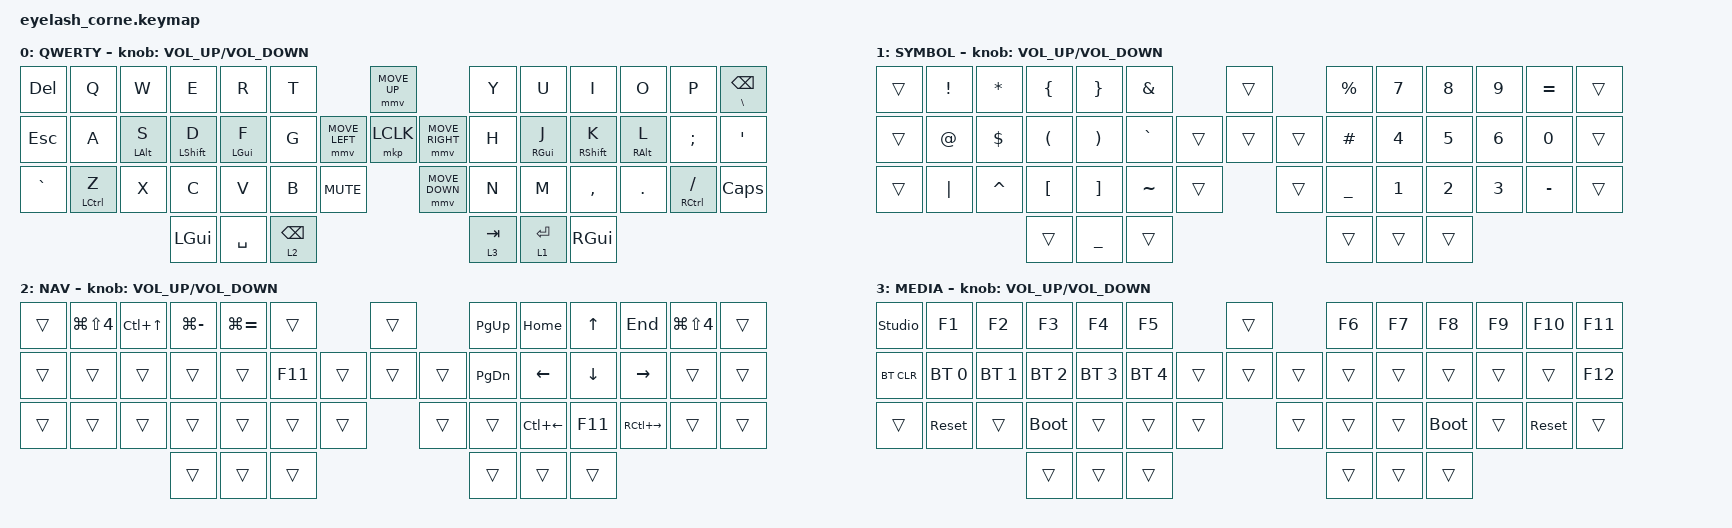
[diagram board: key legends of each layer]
#define ZMK_POINTING_DEFAULT_MOVE_VAL 1200  // 600
#define ZMK_POINTING_DEFAULT_SCRL_VAL 25    // 10

#include "zmk-helpers/helper.h"

// Source desired key-position labels
#include "zmk-helpers/key-labels/eyelash42.h"

#include <input/processors.dtsi>
#include <zephyr/dt-bindings/input/input-event-codes.h>
#include <behaviors.dtsi>
#include <dt-bindings/zmk/bt.h>
#include <dt-bindings/zmk/keys.h>
#include <dt-bindings/zmk/outputs.h>
#include <dt-bindings/zmk/pointing.h>
#include <dt-bindings/zmk/rgb.h>

/* Define aliases for behaviors */
#define ___ &trans
#define DESKTOP F11
#define SCREENSHOT LG(LS(N4))
#define ZOOM_IN LG(EQUAL)
#define ZOOM_OUT LG(MINUS)
#define MSN_CTRL LC(UP)

/* Define nicknames for layers */
#define QWERTY 0
#define SYMBOL 1
#define NAV 2
#define MEDIA 3


/* Timeless homerow mods */
#define KEYS_L LT0 LT1 LT2 LT3 LT4 LT5 LM0 LM1 LM2 LM3 LM4 LM5 LB0 LB1 LB2 LB3 LB4 LB5 // Left-hand keys.
#define KEYS_R RT0 RT1 RT2 RT3 RT4 RT5 RM0 RM1 RM2 RM3 RM4 RM5 RB0 RB1 RB2 RB3 RB4 RB5 // Right-hand keys.
#define THUMBS LH2 LH1 LH0 RH0 RH1 RH2                                                 // Thumb keys.

/* Left-hand HRMs. */
ZMK_HOLD_TAP(hml,
    flavor = "balanced";
    tapping-term-ms = <280>;
    quick-tap-ms = <175>;
    require-prior-idle-ms = <150>;
    bindings = <&kp>, <&kp>;
    hold-trigger-key-positions = <KEYS_R THUMBS>;
    hold-trigger-on-release;
)

/* Right-hand HRMs. */
ZMK_HOLD_TAP(hmr,
    flavor = "balanced";
    tapping-term-ms = <280>;
    quick-tap-ms = <175>;
    require-prior-idle-ms = <150>;
    bindings = <&kp>, <&kp>;
    hold-trigger-key-positions = <KEYS_L THUMBS>;
    hold-trigger-on-release;
)

/* Left-hand HRMs. */
ZMK_HOLD_TAP(hmsl,
    flavor = "balanced";
    tapping-term-ms = <280>;
    quick-tap-ms = <175>;
    require-prior-idle-ms = <5>;
    bindings = <&kp>, <&kp>;
    hold-trigger-key-positions = <KEYS_R THUMBS>;
    hold-trigger-on-release;
)

/* Right-hand HRMs. */
ZMK_HOLD_TAP(hmsr,
    flavor = "balanced";
    tapping-term-ms = <280>;
    quick-tap-ms = <175>;
    require-prior-idle-ms = <5>;
    bindings = <&kp>, <&kp>;
    hold-trigger-key-positions = <KEYS_L THUMBS>;
    hold-trigger-on-release;
)

/* Mouse Move Behaviors */
&mmv {
    time-to-max-speed-ms = <500>;
    acceleration-exponent = <1>;
    trigger-period-ms = <16>;
};

/* Start defining behaviors */
/ {

/* Keymap */
keymap {
compatible = "zmk,keymap";

querty_layer {
display-name = "QWERTY";
bindings = <
// ╭─────────────┬─────────────┬─────────────┬─────────────┬─────────────┬─────────────╮                                      ╭───────────────╮                   ╭─────────────┬─────────────┬─────────────┬─────────────┬─────────────┬─────────────╮
       &kp DEL        &kp Q         &kp W         &kp E         &kp R        &kp T                                               &mmv MOVE_UP                          &kp Y         &kp U          &kp I        &kp O        &kp P      &mt BSLH BSPC
// ├─────────────┼─────────────┼─────────────┼─────────────┼─────────────┼─────────────┤                      ╭───────────────┼───────────────┼───────────────╮   ├─────────────┼─────────────┼─────────────┼─────────────┼─────────────┼─────────────┤
       &kp ESC        &kp A      &hml LALT S  &hmsl LSHFT D  &hml LGUI F     &kp G                             &mmv MOVE_LEFT     &mkp LCLK    &mmv MOVE_RIGHT         &kp H      &hmr RGUI J  &hmsr RSHFT K  &hmr RALT L     &kp SEMI      &kp SQT
// ├─────────────┼─────────────┼─────────────┼─────────────┼─────────────┼─────────────┤   ╭─────────────╮    ╰───────────────┼───────────────┼───────────────╯   ├─────────────┼─────────────┼─────────────┼─────────────┼─────────────┼─────────────┤
      &kp GRAVE   &hml LCTRL Z     &kp X        &kp C          &kp V        &kp B            &kp C_MUTE                        &mmv MOVE_DOWN                          &kp N        &kp M       &kp COMMA      &kp DOT    &hmr RCTRL FSLH  &kp CAPS
// ╰─────────────┼─────────────┼─────────────┼─────────────┼─────────────┼─────────────┤   ╰─────────────╯                    ╰───────────────╯                   ├─────────────┼─────────────┼─────────────┼─────────────┼─────────────┼─────────────╯
                                                &kp LGUI     &kp SPACE    &lt 2 BSPC                                                                                 &lt 3 TAB    &lt 1 ENTER    &kp RGUI
//                                           ╰─────────────┴─────────────┴─────────────╯                                                                          ╰─────────────┴─────────────┴─────────────╯
>;
sensor-bindings = <&inc_dec_kp C_VOLUME_UP C_VOLUME_DOWN>;
};

symbol_layer {
display-name = "SYMBOL";
bindings = <
// ╭─────────────┬─────────────┬─────────────┬─────────────┬─────────────┬─────────────╮                                      ╭───────────────╮                   ╭─────────────┬─────────────┬─────────────┬─────────────┬─────────────┬─────────────╮
         ___        &kp EXCL      &kp ASTRK     &kp LBRC       &kp RBRC      &kp AMPS                                                ___                              &kp PRCNT       &kp N7       &kp N8        &kp N9      &kp EQUAL         ___
// ├─────────────┼─────────────┼─────────────┼─────────────┼─────────────┼─────────────┤                      ╭───────────────┼───────────────┼───────────────╮   ├─────────────┼─────────────┼─────────────┼─────────────┼─────────────┼─────────────┤
         ___         &kp AT       &kp DLLR      &kp LPAR       &kp RPAR     &kp GRAVE                                ___             ___             ___              &kp HASH        &kp N4       &kp N5        &kp N6       &kp N0           ___
// ├─────────────┼─────────────┼─────────────┼─────────────┼─────────────┼─────────────┤   ╭─────────────╮    ╰───────────────┼───────────────┼───────────────╯   ├─────────────┼─────────────┼─────────────┼─────────────┼─────────────┼─────────────┤
         ___        &kp PIPE      &kp CARET     &kp LBKT      &kp RBKT      &kp TILDE            ___                                 ___                              &kp UNDER       &kp N1       &kp N2        &kp N3      &kp MINUS         ___
// ╰─────────────┼─────────────┼─────────────┼─────────────┼─────────────┼─────────────┤   ╰─────────────╯                    ╰───────────────╯                   ├─────────────┼─────────────┼─────────────┼─────────────┼─────────────┼─────────────╯
                                                    ___       &kp UNDER        ___                                                                                      ___            ___           ___
//                                           ╰─────────────┴─────────────┴─────────────╯                                                                          ╰─────────────┴─────────────┴─────────────╯
>;
sensor-bindings = <&inc_dec_kp C_VOLUME_UP C_VOLUME_DOWN>;
};


nav_layer {
display-name = "NAV";
bindings = <
// ╭─────────────┬─────────────┬─────────────┬─────────────┬─────────────┬─────────────╮                                      ╭───────────────╮                   ╭─────────────┬─────────────┬─────────────┬─────────────┬─────────────┬─────────────╮
         ___     &kp SCREENSHOT &kp MSN_CTRL  &kp ZOOM_OUT   &kp ZOOM_IN      ___                                                    ___                             &kp PG_UP     &kp HOME      &kp UP       &kp END      &kp SCREENSHOT     ___
// ├─────────────┼─────────────┼─────────────┼─────────────┼─────────────┼─────────────┤                      ╭───────────────┼───────────────┼───────────────╮   ├─────────────┼─────────────┼─────────────┼─────────────┼─────────────┼─────────────┤
         ___           ___          ___            ___          ___        &kp DESKTOP                               ___             ___             ___             &kp PG_DN     &kp LEFT     &kp DOWN      &kp RIGHT        ___            ___
// ├─────────────┼─────────────┼─────────────┼─────────────┼─────────────┼─────────────┤   ╭─────────────╮    ╰───────────────┼───────────────┼───────────────╯   ├─────────────┼─────────────┼─────────────┼─────────────┼─────────────┼─────────────┤
         ___           ___          ___            ___          ___           ___                ___                                 ___                               ___       &kp LC(LEFT)   &kp DESKTOP  &kp RC(RIGHT)     ___            ___
// ╰─────────────┼─────────────┼─────────────┼─────────────┼─────────────┼─────────────┤   ╰─────────────╯                    ╰───────────────╯                   ├─────────────┼─────────────┼─────────────┼─────────────┼─────────────┼─────────────╯
                                                   ___          ___           ___                                                                                      ___           ___            ___
//                                           ╰─────────────┴─────────────┴─────────────╯                                                                          ╰─────────────┴─────────────┴─────────────╯
>;
sensor-bindings = <&inc_dec_kp C_VOLUME_UP C_VOLUME_DOWN>;
};

media_layer {
display-name = "MEDIA";
bindings = <
// ╭─────────────┬─────────────┬─────────────┬─────────────┬─────────────┬─────────────╮                                      ╭───────────────╮                   ╭─────────────┬─────────────┬─────────────┬─────────────┬─────────────┬─────────────╮
    &studio_unlock   &kp F1        &kp F2        &kp F3         &kp F4        &kp F5                                                 ___                              &kp F6        &kp F7        &kp F8       &kp F9        &kp F10       &kp F11
// ├─────────────┼─────────────┼─────────────┼─────────────┼─────────────┼─────────────┤                      ╭───────────────┼───────────────┼───────────────╮   ├─────────────┼─────────────┼─────────────┼─────────────┼─────────────┼─────────────┤
     &bt BT_CLR   &bt BT_SEL 0  &bt BT_SEL 1  &bt BT_SEL 2  &bt BT_SEL 3  &bt BT_SEL 4                               ___             ___             ___                ___           ___           ___           ___           ___        &kp F12
// ├─────────────┼─────────────┼─────────────┼─────────────┼─────────────┼─────────────┤   ╭─────────────╮    ╰───────────────┼───────────────┼───────────────╯   ├─────────────┼─────────────┼─────────────┼─────────────┼─────────────┼─────────────┤
       ___         &sys_reset        ___       &bootloader       ___          ___                ___                                 ___                                ___           ___       &bootloader       ___       &sys_reset        ___
// ╰─────────────┼─────────────┼─────────────┼─────────────┼─────────────┼─────────────┤   ╰─────────────╯                    ╰───────────────╯                   ├─────────────┼─────────────┼─────────────┼─────────────┼─────────────┼─────────────╯
                                                  ___            ___          ___                                                                                       ___           ___           ___
//                                           ╰─────────────┴─────────────┴─────────────╯                                                                          ╰─────────────┴─────────────┴─────────────╯
>;
sensor-bindings = <&inc_dec_kp C_VOLUME_UP C_VOLUME_DOWN>;
};
};
};
